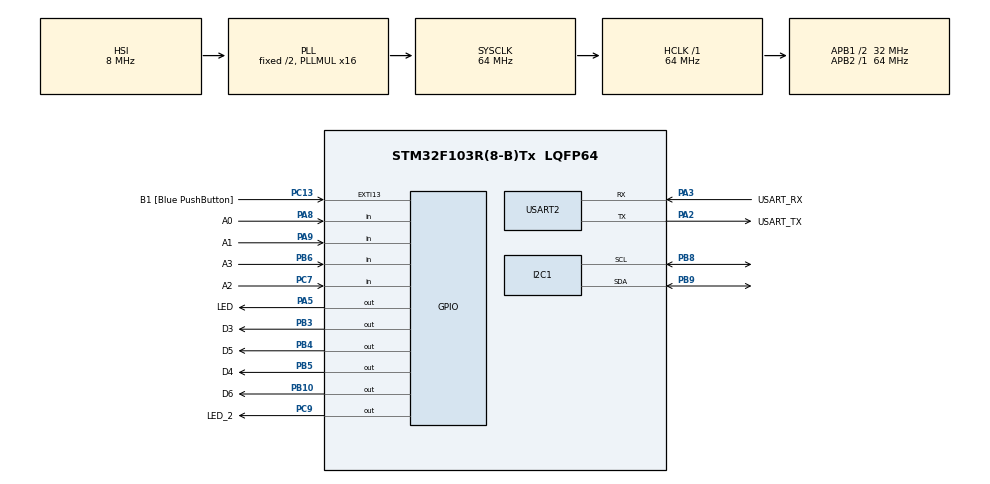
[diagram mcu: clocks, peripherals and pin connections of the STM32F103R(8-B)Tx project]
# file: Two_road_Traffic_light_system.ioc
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Mcu.Family=STM32F1
Mcu.Name=STM32F103R(8-B)Tx
Mcu.Package=LQFP64
NVIC.EXTI15_10_IRQn=true\:0\:0\:false\:false\:true\:true\:true
NVIC.I2C1_EV_IRQn=true\:0\:0\:false\:false\:true\:true\:true
NVIC.PriorityGroup=NVIC_PRIORITYGROUP_4
NVIC.TIM2_IRQn=true\:0\:0\:false\:false\:true\:true\:true
PA13.GPIO_Label=TMS
PA13.Mode=Serial_Wire
PA13.Signal=SYS_JTMS-SWDIO
PA14.GPIO_Label=TCK
PA14.Mode=Serial_Wire
PA14.Signal=SYS_JTCK-SWCLK
PA2.GPIO_Label=USART_TX
PA2.GPIO_Mode=GPIO_MODE_AF_PP
PA2.GPIO_PuPd=GPIO_NOPULL
PA2.GPIO_Speed=GPIO_SPEED_FREQ_LOW
PA2.Mode=Asynchronous
PA2.Signal=USART2_TX
PA3.GPIO_Label=USART_RX
PA3.GPIO_Mode=GPIO_MODE_AF_PP
PA3.GPIO_PuPd=GPIO_NOPULL
PA3.GPIO_Speed=GPIO_SPEED_FREQ_LOW
PA3.Mode=Asynchronous
PA3.Signal=USART2_RX
PA5.GPIO_Label=LED
PA5.GPIO_ModeDefaultOutputPP=GPIO_MODE_OUTPUT_PP
PA5.GPIO_PuPd=GPIO_NOPULL
PA5.GPIO_Speed=GPIO_SPEED_FREQ_LOW
PA5.Signal=GPIO_Output
PA8.GPIO_Label=A0
PA8.GPIO_PuPd=GPIO_PULLUP
PA8.Signal=GPIO_Input
PA9.GPIO_Label=A1
PA9.GPIO_PuPd=GPIO_PULLUP
PA9.Signal=GPIO_Input
PB10.GPIO_Label=D6
PB10.Signal=GPIO_Output
PB3.GPIO_Label=D3
PB3.Signal=GPIO_Output
PB4.GPIO_Label=D5
PB4.Signal=GPIO_Output
PB5.GPIO_Label=D4
PB5.Signal=GPIO_Output
PB6.GPIO_Label=A3
PB6.GPIO_PuPd=GPIO_PULLUP
PB6.Signal=GPIO_Input
PB8.Mode=I2C
PB8.Signal=I2C1_SCL
PB9.Mode=I2C
PB9.Signal=I2C1_SDA
PC13-TAMPER-RTC.GPIO_Label=B1 [Blue PushButton]
PC13-TAMPER-RTC.GPIO_PuPd=GPIO_NOPULL
PC13-TAMPER-RTC.Signal=GPXTI13
PC14-OSC32_IN.Mode=LSE-External-Oscillator
PC14-OSC32_IN.Signal=RCC_OSC32_IN
PC15-OSC32_OUT.Mode=LSE-External-Oscillator
PC15-OSC32_OUT.Signal=RCC_OSC32_OUT
PC7.GPIO_Label=A2
PC7.GPIO_PuPd=GPIO_PULLUP
PC7.Signal=GPIO_Input
PC9.GPIO_Label=LED_2
PC9.Signal=GPIO_Output
PD0-OSC_IN.Mode=HSE-External-Clock-Source
PD0-OSC_IN.Signal=RCC_OSC_IN
PD1-OSC_OUT.Mode=HSE-External-Clock-Source
PD1-OSC_OUT.Signal=RCC_OSC_OUT
ProjectManager.HeapSize=0x200
ProjectManager.StackSize=0x400
ProjectManager.TargetToolchain=STM32CubeIDE
RCC.AHBFreq_Value=64000000
RCC.APB1CLKDivider=RCC_HCLK_DIV2
RCC.APB1Freq_Value=32000000
RCC.APB1TimFreq_Value=64000000
RCC.APB2Freq_Value=64000000
RCC.APB2TimFreq_Value=64000000
RCC.HCLKFreq_Value=64000000
RCC.PLLMUL=RCC_PLL_MUL16
RCC.RTCClockSelection=RCC_RTCCLKSOURCE_LSE
RCC.SYSCLKFreq_VALUE=64000000
RCC.SYSCLKSource=RCC_SYSCLKSOURCE_PLLCLK
RCC.USBFreq_Value=64000000
TIM2.Period=9
TIM2.Prescaler=63999
USART2.VirtualMode=VM_ASYNC
VP_TIM2_VS_ClockSourceINT.Mode=Internal
board=NUCLEO-F103RB

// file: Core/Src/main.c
/* USER CODE BEGIN Header */
/**
  ******************************************************************************
  * @file           : main.c
  * @brief          : Main program body
  ******************************************************************************
  * @attention
  *
  * <h2><center>&copy; Copyright (c) 2026 STMicroelectronics.
  * All rights reserved.</center></h2>
  *
  * This software component is licensed by ST under BSD 3-Clause license,
  * the "License"; You may not use this file except in compliance with the
  * License. You may obtain a copy of the License at:
  *                        opensource.org/licenses/BSD-3-Clause
  *
  ******************************************************************************
  */
/* USER CODE END Header */
#include "main.h"

/* USER CODE BEGIN Includes */
#include "scheduler.h"
#include "software_timer.h"
#include "button.h"
#include "lcd.h"
#include "fsm_manual.h"
/* USER CODE END Includes */

I2C_HandleTypeDef hi2c1;

TIM_HandleTypeDef htim2;

UART_HandleTypeDef huart2;

void SystemClock_Config(void);
static void MX_GPIO_Init(void);
static void MX_USART2_UART_Init(void);
static void MX_I2C1_Init(void);
static void MX_TIM2_Init(void);

/* USER CODE BEGIN 0 */
void toggle_LED(void) {
    HAL_GPIO_TogglePin(LED_GPIO_Port, LED_Pin); // Đảo trạng thái PA5 (LED)
}

void toggle_D3(void) {
    HAL_GPIO_TogglePin(D3_GPIO_Port, D3_Pin);   // Đảo trạng thái PB3 (D3)
}

void one_shot_test(void) {
    HAL_GPIO_TogglePin(D4_GPIO_Port, D4_Pin);   // Đảo trạng thái PB5 (D4) sau 3s
}

/* Ngat timer TIM2 moi 10 ms -> cap nhat scheduler */
void HAL_TIM_PeriodElapsedCallback(TIM_HandleTypeDef *htim) {
    if (htim->Instance == TIM2) {
        SCH_Update();
    }
}
/* USER CODE END 0 */

int main(void)
{

  /* MCU Configuration--------------------------------------------------------*/

  /* Reset of all peripherals, Initializes the Flash interface and the Systick. */
  HAL_Init();

  /* Configure the system clock */
  SystemClock_Config();

  /* Initialize all configured peripherals */
  MX_GPIO_Init();
  MX_USART2_UART_Init();
  MX_I2C1_Init();
  MX_TIM2_Init();
  /* USER CODE BEGIN 2 */
  ////////////////////Scheduler testing///////////////////////
  lcd_init();
  SCH_Init();
  SCH_Add_Task(button_reading, 0, 10);  // Đọc nút mỗi 10 ms
  SCH_Add_Task(timer_run, 0, 10);       // Software timer mỗi 10 ms
  SCH_Add_Task(fsm_manual_run, 0, 100); // State machine + LCD mỗi 100 ms
  ////////////////////////////////////////////////////////////

  HAL_TIM_Base_Start_IT(&htim2);        // Bật ngắt TIM2 (10 ms) cho scheduler

  /* USER CODE END 2 */

  /* Infinite loop */
  while (1)
  {

    /* USER CODE BEGIN 3 */

/////////////////////Scheduler testing////////////////////
	  SCH_Dispatch_Tasks();
  }
  /* USER CODE END 3 */
}

void SystemClock_Config(void)
{
  RCC_OscInitTypeDef RCC_OscInitStruct = {0};
  RCC_ClkInitTypeDef RCC_ClkInitStruct = {0};

  /** Initializes the RCC Oscillators according to the specified parameters
  * in the RCC_OscInitTypeDef structure.
  */
  RCC_OscInitStruct.OscillatorType = RCC_OSCILLATORTYPE_HSI;
  RCC_OscInitStruct.HSIState = RCC_HSI_ON;
  RCC_OscInitStruct.HSICalibrationValue = RCC_HSICALIBRATION_DEFAULT;
  RCC_OscInitStruct.PLL.PLLState = RCC_PLL_ON;
  RCC_OscInitStruct.PLL.PLLSource = RCC_PLLSOURCE_HSI_DIV2;
  RCC_OscInitStruct.PLL.PLLMUL = RCC_PLL_MUL16;
  if (HAL_RCC_OscConfig(&RCC_OscInitStruct) != HAL_OK)
  {
    Error_Handler();
  }
  /** Initializes the CPU, AHB and APB buses clocks
  */
  RCC_ClkInitStruct.ClockType = RCC_CLOCKTYPE_HCLK|RCC_CLOCKTYPE_SYSCLK
                              |RCC_CLOCKTYPE_PCLK1|RCC_CLOCKTYPE_PCLK2;
  RCC_ClkInitStruct.SYSCLKSource = RCC_SYSCLKSOURCE_PLLCLK;
  RCC_ClkInitStruct.AHBCLKDivider = RCC_SYSCLK_DIV1;
  RCC_ClkInitStruct.APB1CLKDivider = RCC_HCLK_DIV2;
  RCC_ClkInitStruct.APB2CLKDivider = RCC_HCLK_DIV1;

  if (HAL_RCC_ClockConfig(&RCC_ClkInitStruct, FLASH_LATENCY_2) != HAL_OK)
  {
    Error_Handler();
  }
}

static void MX_I2C1_Init(void)
{

  hi2c1.Instance = I2C1;
  hi2c1.Init.ClockSpeed = 100000;
  hi2c1.Init.DutyCycle = I2C_DUTYCYCLE_2;
  hi2c1.Init.OwnAddress1 = 0;
  hi2c1.Init.AddressingMode = I2C_ADDRESSINGMODE_7BIT;
  hi2c1.Init.DualAddressMode = I2C_DUALADDRESS_DISABLE;
  hi2c1.Init.OwnAddress2 = 0;
  hi2c1.Init.GeneralCallMode = I2C_GENERALCALL_DISABLE;
  hi2c1.Init.NoStretchMode = I2C_NOSTRETCH_DISABLE;
  if (HAL_I2C_Init(&hi2c1) != HAL_OK)
  {
    Error_Handler();
  }

}

static void MX_TIM2_Init(void)
{

  TIM_ClockConfigTypeDef sClockSourceConfig = {0};
  TIM_MasterConfigTypeDef sMasterConfig = {0};

  htim2.Instance = TIM2;
  htim2.Init.Prescaler = 63999;
  htim2.Init.CounterMode = TIM_COUNTERMODE_UP;
  htim2.Init.Period = 9;
  htim2.Init.ClockDivision = TIM_CLOCKDIVISION_DIV1;
  htim2.Init.AutoReloadPreload = TIM_AUTORELOAD_PRELOAD_DISABLE;
  if (HAL_TIM_Base_Init(&htim2) != HAL_OK)
  {
    Error_Handler();
  }
  sClockSourceConfig.ClockSource = TIM_CLOCKSOURCE_INTERNAL;
  if (HAL_TIM_ConfigClockSource(&htim2, &sClockSourceConfig) != HAL_OK)
  {
    Error_Handler();
  }
  sMasterConfig.MasterOutputTrigger = TIM_TRGO_RESET;
  sMasterConfig.MasterSlaveMode = TIM_MASTERSLAVEMODE_DISABLE;
  if (HAL_TIMEx_MasterConfigSynchronization(&htim2, &sMasterConfig) != HAL_OK)
  {
    Error_Handler();
  }

}

static void MX_USART2_UART_Init(void)
{

  huart2.Instance = USART2;
  huart2.Init.BaudRate = 115200;
  huart2.Init.WordLength = UART_WORDLENGTH_8B;
  huart2.Init.StopBits = UART_STOPBITS_1;
  huart2.Init.Parity = UART_PARITY_NONE;
  huart2.Init.Mode = UART_MODE_TX_RX;
  huart2.Init.HwFlowCtl = UART_HWCONTROL_NONE;
  huart2.Init.OverSampling = UART_OVERSAMPLING_16;
  if (HAL_UART_Init(&huart2) != HAL_OK)
  {
    Error_Handler();
  }

}

static void MX_GPIO_Init(void)
{
  GPIO_InitTypeDef GPIO_InitStruct = {0};

  /* GPIO Ports Clock Enable */
  __HAL_RCC_GPIOC_CLK_ENABLE();
  __HAL_RCC_GPIOD_CLK_ENABLE();
  __HAL_RCC_GPIOA_CLK_ENABLE();
  __HAL_RCC_GPIOB_CLK_ENABLE();

  /*Configure GPIO pin Output Level */
  HAL_GPIO_WritePin(LED_GPIO_Port, LED_Pin, GPIO_PIN_RESET);

  /*Configure GPIO pin Output Level */
  HAL_GPIO_WritePin(GPIOB, D6_Pin|D3_Pin|D5_Pin|D4_Pin, GPIO_PIN_RESET);

  /*Configure GPIO pin Output Level */
  HAL_GPIO_WritePin(LED_2_GPIO_Port, LED_2_Pin, GPIO_PIN_RESET);

  /*Configure GPIO pin : B1_Pin */
  GPIO_InitStruct.Pin = B1_Pin;
  GPIO_InitStruct.Mode = GPIO_MODE_IT_RISING;
  GPIO_InitStruct.Pull = GPIO_NOPULL;
  HAL_GPIO_Init(B1_GPIO_Port, &GPIO_InitStruct);

  /*Configure GPIO pin : LED_Pin */
  GPIO_InitStruct.Pin = LED_Pin;
  GPIO_InitStruct.Mode = GPIO_MODE_OUTPUT_PP;
  GPIO_InitStruct.Pull = GPIO_NOPULL;
  GPIO_InitStruct.Speed = GPIO_SPEED_FREQ_LOW;
  HAL_GPIO_Init(LED_GPIO_Port, &GPIO_InitStruct);

  /*Configure GPIO pins : D6_Pin D3_Pin D5_Pin D4_Pin */
  GPIO_InitStruct.Pin = D6_Pin|D3_Pin|D5_Pin|D4_Pin;
  GPIO_InitStruct.Mode = GPIO_MODE_OUTPUT_PP;
  GPIO_InitStruct.Pull = GPIO_NOPULL;
  GPIO_InitStruct.Speed = GPIO_SPEED_FREQ_LOW;
  HAL_GPIO_Init(GPIOB, &GPIO_InitStruct);

  /*Configure GPIO pin : A2_Pin */
  GPIO_InitStruct.Pin = A2_Pin;
  GPIO_InitStruct.Mode = GPIO_MODE_INPUT;
  GPIO_InitStruct.Pull = GPIO_PULLUP;
  HAL_GPIO_Init(A2_GPIO_Port, &GPIO_InitStruct);

  /*Configure GPIO pin : LED_2_Pin */
  GPIO_InitStruct.Pin = LED_2_Pin;
  GPIO_InitStruct.Mode = GPIO_MODE_OUTPUT_PP;
  GPIO_InitStruct.Pull = GPIO_NOPULL;
  GPIO_InitStruct.Speed = GPIO_SPEED_FREQ_LOW;
  HAL_GPIO_Init(LED_2_GPIO_Port, &GPIO_InitStruct);

  /*Configure GPIO pins : A0_Pin A1_Pin */
  GPIO_InitStruct.Pin = A0_Pin|A1_Pin;
  GPIO_InitStruct.Mode = GPIO_MODE_INPUT;
  GPIO_InitStruct.Pull = GPIO_PULLUP;
  HAL_GPIO_Init(GPIOA, &GPIO_InitStruct);

  /*Configure GPIO pin : A3_Pin */
  GPIO_InitStruct.Pin = A3_Pin;
  GPIO_InitStruct.Mode = GPIO_MODE_INPUT;
  GPIO_InitStruct.Pull = GPIO_PULLUP;
  HAL_GPIO_Init(A3_GPIO_Port, &GPIO_InitStruct);

  /* EXTI interrupt init*/
  HAL_NVIC_SetPriority(EXTI15_10_IRQn, 0, 0);
  HAL_NVIC_EnableIRQ(EXTI15_10_IRQn);

}

void Error_Handler(void)
{
  __disable_irq();
  while (1)
  {
  }
}

/************************ (C) COPYRIGHT STMicroelectronics *****END OF FILE****/
